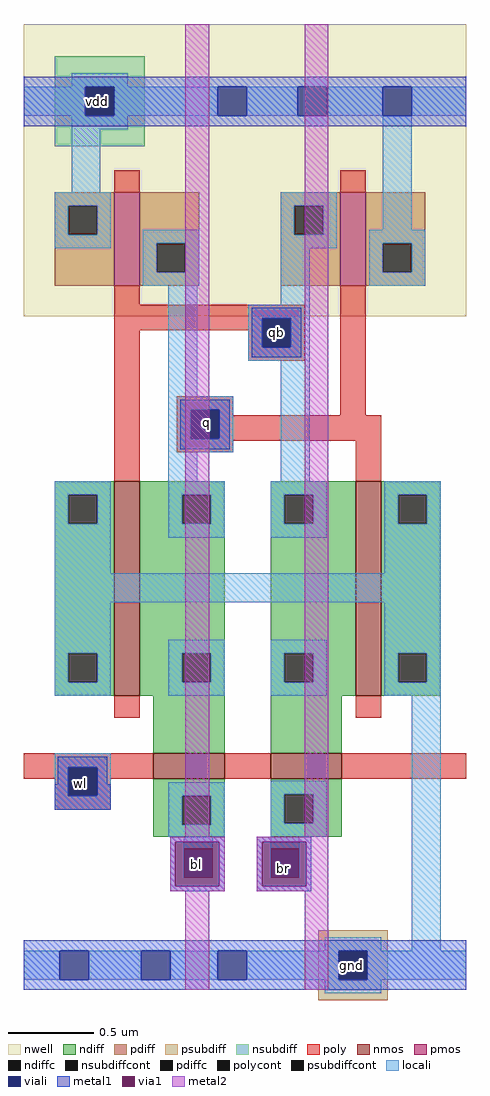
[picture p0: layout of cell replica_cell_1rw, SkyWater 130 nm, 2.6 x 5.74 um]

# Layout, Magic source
magic
tech sky130A
<< nwell >>
rect 0 382 260 554
<< nmos >>
rect 53 159 68 285
rect 195 159 210 285
rect 76 110 118 125
rect 145 110 187 125
<< pmos >>
rect 53 400 68 455
rect 186 400 201 455
<< ndiff >>
rect 18 277 53 285
rect 18 260 26 277
rect 43 260 53 277
rect 18 184 53 260
rect 18 167 26 184
rect 43 167 53 184
rect 18 159 53 167
rect 68 277 118 285
rect 68 260 93 277
rect 110 260 118 277
rect 68 184 118 260
rect 68 167 93 184
rect 110 167 118 184
rect 68 159 118 167
rect 76 125 118 159
rect 145 277 195 285
rect 145 260 153 277
rect 170 260 195 277
rect 145 184 195 260
rect 145 167 153 184
rect 170 167 195 184
rect 145 159 195 167
rect 210 277 245 285
rect 210 260 220 277
rect 237 260 245 277
rect 210 184 245 260
rect 210 167 220 184
rect 237 167 245 184
rect 210 159 245 167
rect 145 125 187 159
rect 76 100 118 110
rect 76 83 93 100
rect 110 83 118 100
rect 76 76 118 83
rect 145 101 187 110
rect 145 84 153 101
rect 170 84 187 101
rect 145 76 187 84
<< pdiff >>
rect 18 447 53 455
rect 18 430 26 447
rect 43 430 53 447
rect 18 400 53 430
rect 68 425 103 455
rect 68 408 78 425
rect 95 408 103 425
rect 68 400 103 408
rect 151 447 186 455
rect 151 430 159 447
rect 176 430 186 447
rect 151 400 186 430
rect 201 425 236 455
rect 201 408 211 425
rect 228 408 236 425
rect 201 400 236 408
<< ndiffc >>
rect 26 260 43 277
rect 26 167 43 184
rect 93 260 110 277
rect 93 167 110 184
rect 153 260 170 277
rect 153 167 170 184
rect 220 260 237 277
rect 220 167 237 184
rect 93 83 110 100
rect 153 84 170 101
<< pdiffc >>
rect 26 430 43 447
rect 78 408 95 425
rect 159 430 176 447
rect 211 408 228 425
<< psubdiff >>
rect 173 9 214 21
rect 173 -8 185 9
rect 202 -8 214 9
rect 173 -20 214 -8
<< nsubdiff >>
rect 18 517 71 535
rect 18 500 36 517
rect 53 500 71 517
rect 18 482 71 500
<< psubdiffcont >>
rect 185 -8 202 9
<< nsubdiffcont >>
rect 36 500 53 517
<< poly >>
rect 53 455 68 468
rect 186 455 201 468
rect 53 389 68 400
rect 53 381 165 389
rect 53 374 140 381
rect 53 285 68 374
rect 132 364 140 374
rect 157 364 165 381
rect 132 356 165 364
rect 90 327 123 335
rect 90 310 98 327
rect 115 324 123 327
rect 186 324 201 400
rect 115 310 210 324
rect 90 309 210 310
rect 90 302 123 309
rect 195 285 210 309
rect 53 146 68 159
rect 195 146 210 159
rect 0 117 76 125
rect 0 110 26 117
rect 18 100 26 110
rect 43 110 76 117
rect 118 110 145 125
rect 187 110 260 125
rect 43 100 51 110
rect 18 92 51 100
<< polycont >>
rect 140 364 157 381
rect 98 310 115 327
rect 26 100 43 117
<< locali >>
rect 28 517 61 525
rect 0 500 36 517
rect 53 500 114 517
rect 131 500 161 517
rect 178 500 211 517
rect 228 500 260 517
rect 28 492 61 500
rect 28 455 45 492
rect 18 447 51 455
rect 18 430 26 447
rect 43 430 51 447
rect 151 447 184 455
rect 18 422 51 430
rect 70 425 103 433
rect 70 408 78 425
rect 95 408 103 425
rect 70 400 103 408
rect 151 430 159 447
rect 176 430 184 447
rect 211 433 228 500
rect 151 422 184 430
rect 203 425 236 433
rect 85 335 102 400
rect 151 389 168 422
rect 203 408 211 425
rect 228 408 236 425
rect 203 400 236 408
rect 132 381 168 389
rect 132 364 140 381
rect 157 364 168 381
rect 132 356 168 364
rect 85 327 123 335
rect 85 310 98 327
rect 115 310 123 327
rect 85 302 123 310
rect 85 285 102 302
rect 151 285 168 356
rect 18 277 51 285
rect 18 260 26 277
rect 43 260 51 277
rect 18 231 51 260
rect 85 277 118 285
rect 85 260 93 277
rect 110 260 118 277
rect 85 252 118 260
rect 145 277 178 285
rect 145 260 153 277
rect 170 260 178 277
rect 145 252 178 260
rect 212 277 245 285
rect 212 260 220 277
rect 237 260 245 277
rect 212 231 245 260
rect 18 214 245 231
rect 18 184 51 214
rect 18 167 26 184
rect 43 167 51 184
rect 18 159 51 167
rect 85 184 118 192
rect 85 167 93 184
rect 110 167 118 184
rect 85 159 118 167
rect 145 184 178 192
rect 145 167 153 184
rect 170 167 178 184
rect 145 159 178 167
rect 212 184 245 214
rect 212 167 220 184
rect 237 167 245 184
rect 212 159 245 167
rect 18 117 51 125
rect 18 100 26 117
rect 43 100 51 117
rect 18 92 51 100
rect 85 100 118 108
rect 85 83 93 100
rect 110 83 118 100
rect 85 76 118 83
rect 145 101 178 109
rect 145 84 153 101
rect 170 84 178 101
rect 145 76 178 84
rect 94 69 111 76
rect 145 69 162 76
rect 177 9 210 17
rect 228 9 245 159
rect 0 -8 21 9
rect 38 -8 69 9
rect 86 -8 114 9
rect 131 -8 185 9
rect 202 -8 260 9
rect 177 -16 210 -8
<< viali >>
rect 36 500 53 517
rect 114 500 131 517
rect 161 500 178 517
rect 211 500 228 517
rect 140 364 157 381
rect 98 310 115 327
rect 26 100 43 117
rect 94 52 111 69
rect 145 52 162 69
rect 21 -8 38 9
rect 69 -8 86 9
rect 114 -8 131 9
rect 185 -8 202 9
<< metal1 >>
rect 0 517 260 523
rect 0 500 36 517
rect 53 500 114 517
rect 131 500 161 517
rect 178 500 211 517
rect 228 500 260 517
rect 0 494 260 500
rect 134 381 163 387
rect 134 364 140 381
rect 157 364 163 381
rect 134 358 163 364
rect 92 327 121 333
rect 92 310 98 327
rect 115 310 121 327
rect 92 304 121 310
rect 20 117 49 123
rect 20 107 26 117
rect 18 100 26 107
rect 43 107 49 117
rect 43 100 51 107
rect 18 92 51 100
rect 86 73 118 76
rect 86 47 89 73
rect 115 47 118 73
rect 86 44 118 47
rect 137 73 169 76
rect 137 47 140 73
rect 166 47 169 73
rect 137 44 169 47
rect 0 9 260 15
rect 0 -8 21 9
rect 38 -8 69 9
rect 86 -8 114 9
rect 131 -8 185 9
rect 202 -8 260 9
rect 0 -14 260 -8
<< via1 >>
rect 89 69 115 73
rect 89 52 94 69
rect 94 52 111 69
rect 111 52 115 69
rect 89 47 115 52
rect 140 69 166 73
rect 140 52 145 69
rect 145 52 162 69
rect 162 52 166 69
rect 140 47 166 52
<< metal2 >>
rect 95 76 109 554
rect 165 76 179 554
rect 86 73 118 76
rect 86 47 89 73
rect 115 47 118 73
rect 86 44 118 47
rect 137 73 179 76
rect 137 47 140 73
rect 166 47 179 73
rect 137 44 179 47
rect 95 -14 109 44
rect 165 -14 179 44
<< labels >>
flabel metal1 s 38 503 49 514 0 FreeSans 200 0 0 0 vdd
port 1 nsew
flabel locali s 102 314 113 325 0 FreeSans 200 0 0 0 q
port 8 nsew
flabel locali s 143 367 154 378 0 FreeSans 200 0 0 0 qb
port 10 nsew
flabel metal2 s 147 52 158 63 0 FreeSans 200 0 0 0 br
port 16 nsew
flabel metal1 s 28 102 39 113 0 FreeSans 200 0 0 0 wl
port 5 nsew
flabel metal2 s 96 54 107 65 0 FreeSans 200 0 0 0 bl
port 14 nsew
flabel metal1 s 187 -5 198 6 0 FreeSans 200 0 0 0 gnd
port 3 nsew
<< properties >>
string FIXED_BBOX 0 0 260 509
<< end >>
